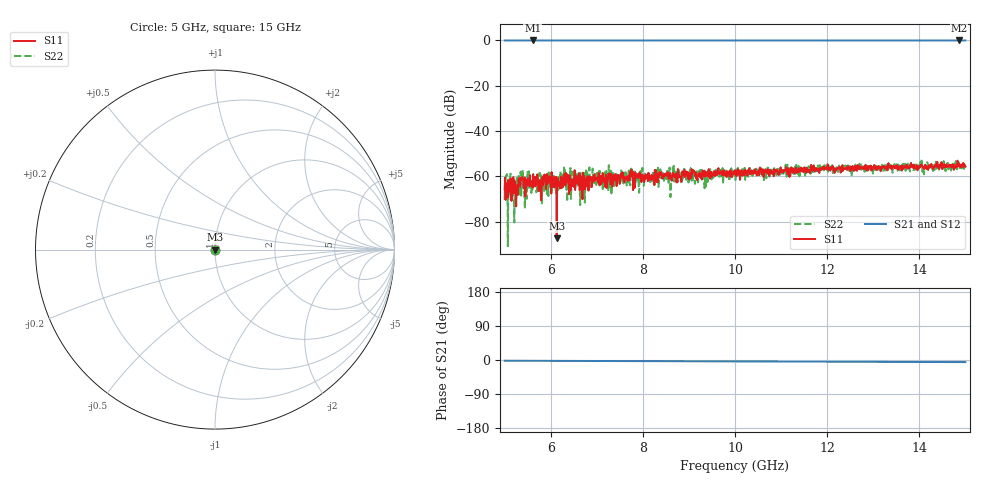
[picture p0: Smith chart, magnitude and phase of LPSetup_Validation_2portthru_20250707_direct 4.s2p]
!  2-Port S-parameters saved by WinCal
! VAR MeasName=S-Parameters (CALIBRATED_DATA) read from VNA (E8361C)
! VAR MeasDate=7/7/2025 4:25:27 PM
! VAR NAME=LPSetup_Validation_2portthru_20250707_direct 4
! VAR FILENAME=LPSetup_Validation_2portthru_20250707_direct 4.s2p
! VAR DATE=7/7/2025 4:25:27 PM
! VAR PHYS_PORTS=1,2
! VAR ObjTypeName=DATASET
! VAR IndexType=Frequency
# Hz S MA R 50
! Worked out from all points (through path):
!   1001 points, 5 GHz to 15 GHz, reference 50 ohm
!   highest |S21| = 0.00 dB at 5.61 GHz (marker M1); lowest = 0.0 dB at 14.86 GHz (marker M2)
!   lowest |S11| = -87.2 dB at 6.13 GHz (marker M3), VSWR 1.00, Z = 50 + j0.0028 ohm
!   |S11| at or under -10 dB: start of sweep to end of sweep
!   |S22| runs from -90.7 to -53.0 dB; largest |S21 - S12| = 0.0018
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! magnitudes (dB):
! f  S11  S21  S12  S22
! 5 GHz  -65.9  0.0  0.0  -70.1
! 5.14 GHz  -64.4  0.0  0.0  -64.4
! 5.2 GHz  -67.4  0.0  0.0  -68.9
! 5.3 GHz  -62.4  0.0  0.0  -59.9
! 5.35 GHz  -60.4  0.0  0.0  -57.9
! 5.46 GHz  -65.0  0.0  0.0  -65.6
! 5.61 GHz  -65.0  0.0  0.0  -62.7
! 5.9 GHz  -65.6  0.0  0.0  -64.9
! 6.13 GHz  -87.2  0.0  0.0  -60.7
! 6.34 GHz  -62.4  0.0  0.0  -65.8
! 6.67 GHz  -60.6  0.0  0.0  -60.5
! 8.34 GHz  -58.6  0.0  0.0  -64.6
! 8.59 GHz  -58.4  0.0  0.0  -58.9
! 8.67 GHz  -59.6  0.0  0.0  -55.3
! 9.26 GHz  -59.2  0.0  0.0  -57.1
! 9.36 GHz  -58.7  0.0  0.0  -60.1
! 9.43 GHz  -56.7  0.0  0.0  -57.2
! 10 GHz  -57.2  0.0  0.0  -58.4
! 11.67 GHz  -55.6  0.0  0.0  -56.8
! 13.34 GHz  -55.5  0.0  0.0  -56.3
! 14.86 GHz  -55.4  0.0  0.0  -56.1
! 15 GHz  -55.7  0.0  0.0  -56.0
